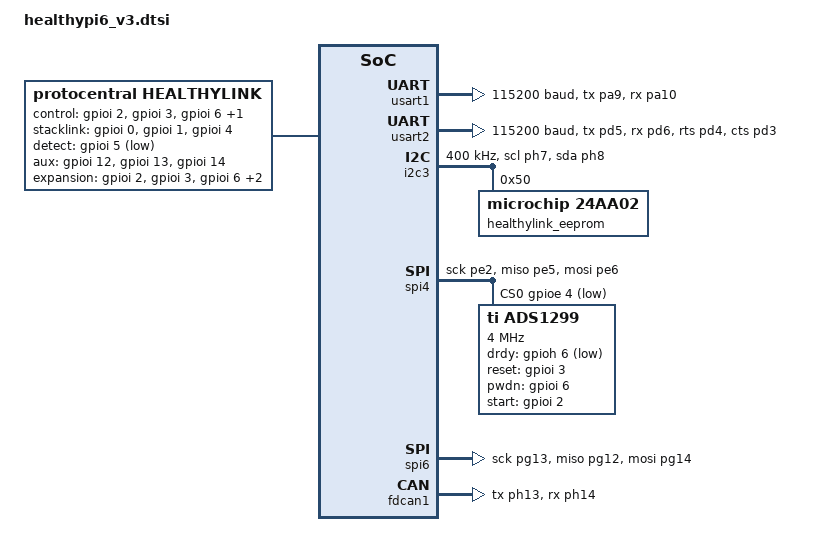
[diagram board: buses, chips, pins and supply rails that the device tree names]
/*
 * Copyright (c) 2019 Linaro Limited
 * Copyright (c) 2025-2026 ProtoCentral
 *
 * SPDX-License-Identifier: Apache-2.0
 */

#include <zephyr/dt-bindings/input/input-event-codes.h>
#include <zephyr/dt-bindings/gpio/gpio.h>
#include <zephyr/dt-bindings/i2c/i2c.h>
#include <zephyr/dt-bindings/clock/stm32h7_clock.h>

&usart1 {
	pinctrl-0 = <&usart1_tx_pa9 &usart1_rx_pa10>;
	pinctrl-names = "default";
	current-speed = <115200>;
};

/*
 * USART2 - HealthyLink Expansion UART with Hardware Flow Control
 * This is the primary serial interface for HealthyLink modules.
 * RTS/CTS enables reliable high-speed communication with module MCUs.
 */
&usart2 {
	pinctrl-0 = <&usart2_tx_pd5 &usart2_rx_pd6 &usart2_rts_pd4 &usart2_cts_pd3>;
	pinctrl-names = "default";
	current-speed = <115200>;
};

&mailbox {
	status = "okay";
};

&rcc {
	d1cpre = <1>;
	hpre = <2>;
	d1ppre = <2>;
	d2ppre1 = <2>;
	d2ppre2 = <2>;
	d3ppre = <2>;
};

/*
 * HealthyLink Expansion Port Base Definitions (v3)
 *
 * Interface Assignments:
 *   SPI4:    PE2 (SCK), PE5 (MISO), PE6 (MOSI), PE4 (NSS) - Primary high-speed
 *   SPI6:    PG13 (SCK), PG12 (MISO), PG14 (MOSI), PA15 (NSS) - Secondary
 *   USART2:  PD5 (TX), PD6 (RX), PD4 (RTS), PD3 (CTS) - With HW flow control
 *   FDCAN1:  PH13 (TX), PH14 (RX) - CAN-FD interface
 *   USB_FS:  PA11 (DM), PA12 (DP) - USB Host (12 Mbps, disabled by default)
 *   I2C3:    PH7 (SCL), PH8 (SDA) - Module EEPROM
 *   ADC:     11 channels on PA1-PA7, PC0, PC1, PC4, PC5 (defined in M7 DTS)
 *
 * GPIO Assignments:
 *   Module Control:  PI2 (START), PI3 (RESET), PI6 (PWDN), PH6 (DRDY)
 *   StackLink Bus:   PI0 (CLK), PI1 (DATA), PI4 (SYNC) - Inter-module comms
 *   Module Detect:   PI5 (MOD_PRESENT)
 *   Aux GPIO:        PI12, PI13, PI14 - General purpose expansion
 *
 * v3 Pin Changes from v2:
 *   - ADS1299 DRDY moved from PG12 to PH6 (frees PG12 for SPI6 MISO)
 *   - SPI6 CS changed from PA10 to PA15 (hardware SPI6_NSS function)
 *   - SPI6 enabled by default (no longer blocked by DRDY conflict)
 *   - FDCAN1 enabled by default
 *   - Removed PA9/PA10 from expansion-gpios (conflict with USART1 console)
 *   - Added StackLink bus GPIOs (PI0, PI1, PI4)
 *   - Added Module Detect GPIO (PI5 MOD_PRESENT)
 *   - HealthyBridge reset moved from PA11 to PA8 (frees USB_FS pins)
 *   - USB OTG FS reserved for USB Host modules (PA11/PA12)
 */

/* I2C3 for module identification EEPROM */
&i2c3 {
	status = "okay";
	pinctrl-0 = <&i2c3_scl_ph7 &i2c3_sda_ph8>;
	pinctrl-names = "default";
	clock-frequency = <I2C_BITRATE_FAST>;

	/* Module ID EEPROM - Microchip 24AA02: 256 bytes @ 0x50 */
	healthylink_eeprom: eeprom@50 {
		compatible = "microchip,24aa02", "atmel,at24";
		reg = <0x50>;
		size = <256>;
		pagesize = <8>;
		address-width = <8>;
		timeout = <5>;
		status = "okay";
	};
};

/*
 * SPI4 for HealthyLink high-speed expansion
 * Enabled by default with ADS1299 child node using deferred-init.
 * The driver will only initialize if EEPROM identifies EEG-8CH module.
 *
 * Note: SPI4 uses PE2 which conflicts with QUADSPI IO2 on v2.
 * In v3, QSPI IO2 is routed to PF7 instead, so no conflict.
 */
&spi4 {
	status = "okay";
	clocks = <&rcc STM32_CLOCK(APB2, 13)>,
		 <&rcc STM32_SRC_PLL2_Q SPI45_SEL(2)>;
	pinctrl-0 = <&spi4_sck_pe2 &spi4_miso_pe5 &spi4_mosi_pe6>;
	pinctrl-names = "default";
	cs-gpios = <&gpioe 4 GPIO_ACTIVE_LOW>;

	/*
	 * ADS1299 8-Channel EEG AFE (HealthyLink EEG-8CH Module)
	 * Uses deferred-init: driver skeleton loads at boot, but hardware
	 * is only initialized when ads1299_hw_init() is called after
	 * EEPROM identifies the connected module as EEG-8CH (0x0001).
	 *
	 * v3 change: DRDY moved from PG12 to PH6
	 */
	ads1299: ads1299@0 {
		compatible = "ti,ads1299";
		reg = <0>;
		spi-max-frequency = <4000000>;
		drdy-gpios = <&gpioh 6 GPIO_ACTIVE_LOW>;    /* v3: PH6 (was PG12 in v2) */
		reset-gpios = <&gpioi 3 GPIO_ACTIVE_HIGH>;
		pwdn-gpios = <&gpioi 6 GPIO_ACTIVE_HIGH>;
		start-gpios = <&gpioi 2 GPIO_ACTIVE_HIGH>;
		gain = <24>;      /* EEG standard gain */
		sample-rate = <250>;
		bias-enabled;     /* Enable BIAS/DRL for common-mode rejection */
		srb1-enabled;     /* Enable SRB1: REF electrode connected to SRB1 pin */
		status = "okay";
		zephyr,deferred-init;
	};
};

/*
 * SPI6 for secondary expansion (enabled in v3)
 * v3: PG12 freed from ADS1299 DRDY conflict, SPI6 MISO can now use PG12.
 * CS changed from PA10 to PA15 (hardware SPI6_NSS alternate function).
 */
&spi6 {
	status = "okay";
	pinctrl-0 = <&spi6_sck_pg13 &spi6_miso_pg12 &spi6_mosi_pg14>;
	pinctrl-names = "default";
	cs-gpios = <&gpioa 15 GPIO_ACTIVE_LOW>;  /* v3: PA15 (was PA10 in v2) */
};

/*
 * FDCAN1 for CAN-FD interface (enabled in v3)
 * v2 had this disabled by default; v3 enables it for HealthyLink CAN modules.
 */
&fdcan1 {
	status = "okay";
	pinctrl-0 = <&fdcan1_tx_ph13 &fdcan1_rx_ph14>;
	pinctrl-names = "default";
	sample-point = <875>;
	sample-point-data = <875>;
};

/*
 * USB OTG FS for HealthyLink USB Host modules (disabled by default)
 *
 * When enabled, provides USB Full-Speed Host capability (12 Mbps) for:
 *   - USB cameras (eye tracking)
 *   - USB storage devices
 *   - USB HID (response buttons, keyboards)
 *   - USB-Serial adapters
 *
 * When disabled, PA11/PA12 can be used as general purpose GPIO.
 * Enable in module overlay with: status = "okay";
 *
 * Note: HealthyBridge reset was moved from PA11 to PA8 to free these pins.
 * Module must provide 5V VBUS power with overcurrent protection.
 */
&usbotg_fs {
	status = "disabled";
	pinctrl-0 = <&usb_otg_fs_dm_pa11 &usb_otg_fs_dp_pa12>;
	pinctrl-names = "default";
};

/* HealthyLink controller node */
/ {
	healthylink: healthylink {
		compatible = "protocentral,healthylink";
		status = "okay";
		zephyr,deferred-init;
		eeprom = <&healthylink_eeprom>;

		/*
		 * Module Control GPIOs (directly control module hardware)
		 * These are directly wired to the ADS1299 on EEG modules.
		 */
		control-gpios = <&gpioi 2 GPIO_ACTIVE_HIGH>,   /* START */
		                <&gpioi 3 GPIO_ACTIVE_HIGH>,   /* RESET */
		                <&gpioi 6 GPIO_ACTIVE_HIGH>,   /* PWDN */
		                <&gpioh 6 GPIO_ACTIVE_LOW>;    /* DRDY (active low) */

		/*
		 * StackLink Inter-Module Communication Bus
		 * Allows direct communication between stacked modules without
		 * involving the host MCU. Uses simple synchronous protocol.
		 */
		stacklink-gpios = <&gpioi 0 GPIO_ACTIVE_HIGH>, /* SLINK_CLK */
		                  <&gpioi 1 GPIO_ACTIVE_HIGH>, /* SLINK_DATA */
		                  <&gpioi 4 GPIO_ACTIVE_HIGH>; /* SLINK_SYNC */

		/*
		 * Module Detection
		 * MOD_PRESENT: Hardware detect (active low, pulled high)
		 * Note: MOD_ID pins removed in v3 (PI7 reassigned to ADS1292R RESET)
		 */
		detect-gpios = <&gpioi 5 (GPIO_ACTIVE_LOW | GPIO_PULL_UP)>; /* MOD_PRESENT */

		/*
		 * Auxiliary GPIO for module-specific functions
		 * General purpose I/O exposed on the expansion connector
		 */
		aux-gpios = <&gpioi 12 GPIO_ACTIVE_HIGH>,
		            <&gpioi 13 GPIO_ACTIVE_HIGH>,
		            <&gpioi 14 GPIO_ACTIVE_HIGH>;

		/* Legacy expansion-gpios for backward compatibility */
		expansion-gpios = <&gpioi 2 GPIO_ACTIVE_HIGH>,
		                  <&gpioi 3 GPIO_ACTIVE_HIGH>,
		                  <&gpioi 6 GPIO_ACTIVE_HIGH>,
		                  <&gpioh 6 GPIO_ACTIVE_LOW>,
		                  <&gpioi 5 GPIO_ACTIVE_LOW>;
	};

	chosen {
		healthylink-eeprom = &healthylink_eeprom;
	};
};
